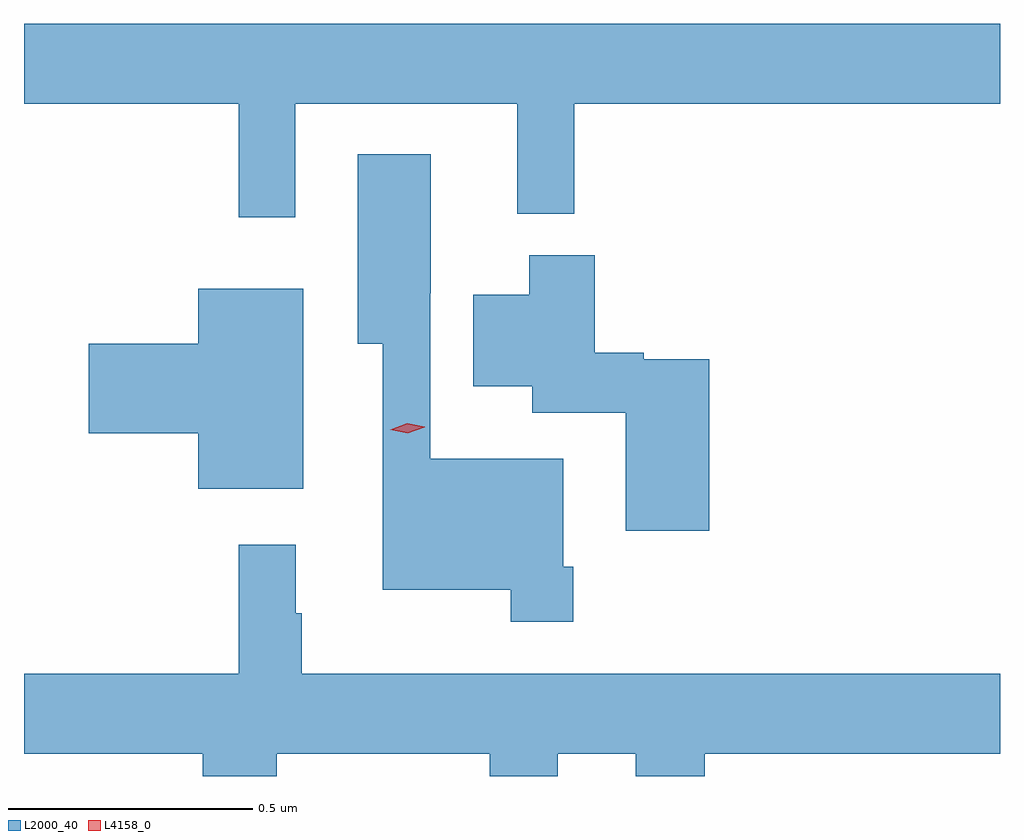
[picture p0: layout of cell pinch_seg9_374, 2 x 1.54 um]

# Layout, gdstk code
import gdstk
lib = gdstk.Library(unit=1e-6, precision=1e-09)
def P(c, l, *ps):  # polygons
    for p in ps: c.add(gdstk.Polygon(p, *l))
L2000_40 = (2000, 40)
L4158_0 = (4158, 0)

pinch_seg9_374 = lib.new_cell('pinch_seg9_374')
P(pinch_seg9_374, L2000_40, [(582.027,1203.08),(582.482,1203.08),(582.482,1202.855),(582.599,1202.855),(582.599,1203.08),(583.471,1203.08),(583.471,1203.244),(581.471,1203.244),(581.471,1203.08),(581.911,1203.08),(581.911,1202.847),(582.027,1202.847)],
  [(582.596,1202.131),(582.576,1202.131),(582.576,1202.353),(582.303,1202.353),(582.303,1202.692),(582.304,1202.692),(582.304,1202.977),(582.155,1202.977),(582.155,1202.588),(582.206,1202.588),(582.206,1202.084),(582.468,1202.084),(582.468,1202.019),(582.596,1202.019)],
  [(582.875,1202.557),(582.741,1202.557),(582.741,1202.57),(582.641,1202.57),(582.641,1202.77),(582.506,1202.77),(582.506,1202.689),(582.392,1202.689),(582.392,1202.501),(582.512,1202.501),(582.512,1202.447),(582.704,1202.447),(582.704,1202.205),(582.875,1202.205)],
  [(582.043,1202.701),(581.828,1202.701),(581.828,1202.588),(581.604,1202.588),(581.604,1202.405),(581.828,1202.405),(581.828,1202.291),(582.043,1202.291)],
  [(582.04,1202.036),(582.028,1202.036),(582.028,1202.176),(581.911,1202.176),(581.911,1201.912),(581.471,1201.912),(581.471,1201.748),(581.837,1201.748),(581.837,1201.702),(581.989,1201.702),(581.989,1201.748),(582.425,1201.748),(582.425,1201.702),(582.565,1201.702),(582.565,1201.748),(582.725,1201.748),(582.725,1201.702),(582.866,1201.702),(582.866,1201.748),(583.471,1201.748),(583.471,1201.912),(582.04,1201.912)])
P(pinch_seg9_374, L4158_0, [(582.257,1202.405),(582.221,1202.412),(582.221,1202.412),(582.221,1202.412),(582.256,1202.425),(582.292,1202.418),(582.292,1202.417),(582.292,1202.417)])

lib.write_gds('pinch_seg9_374.gds')
